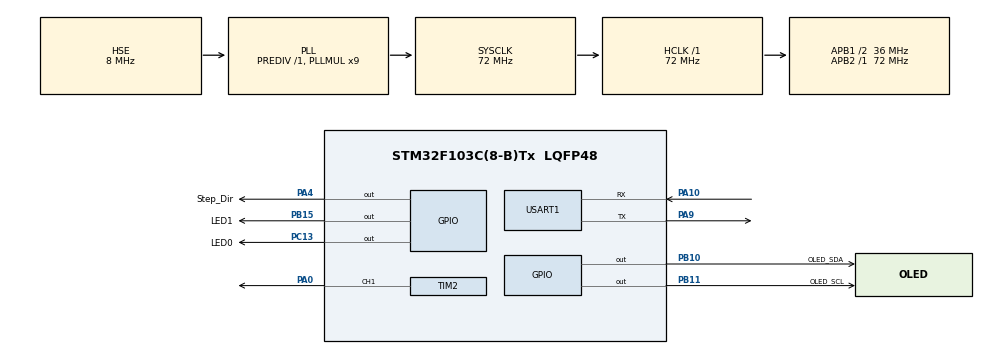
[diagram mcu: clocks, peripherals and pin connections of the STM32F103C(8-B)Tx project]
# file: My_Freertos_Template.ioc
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FREERTOS.Tasks01=defaultTask,0,128,StartDefaultTask,Default,NULL,Dynamic,NULL,NULL;myTask02,-3,128,StartTask02,Default,NULL,Dynamic,NULL,NULL
Mcu.Family=STM32F1
Mcu.Name=STM32F103C(8-B)Tx
Mcu.Package=LQFP48
NVIC.PriorityGroup=NVIC_PRIORITYGROUP_4
NVIC.TIM1_UP_IRQn=true\:15\:0\:false\:false\:true\:false\:false\:true\:true
NVIC.TIM2_IRQn=true\:5\:0\:false\:false\:true\:true\:true\:true\:true
NVIC.TimeBase=TIM1_UP_IRQn
NVIC.TimeBaseIP=TIM1
PA0-WKUP.Signal=S_TIM2_CH1_ETR
PA10.Mode=Asynchronous
PA10.Signal=USART1_RX
PA13.Mode=Serial_Wire
PA13.Signal=SYS_JTMS-SWDIO
PA14.Mode=Serial_Wire
PA14.Signal=SYS_JTCK-SWCLK
PA4.GPIO_Label=Step_Dir
PA4.Signal=GPIO_Output
PA9.Mode=Asynchronous
PA9.Signal=USART1_TX
PB10.GPIO_Label=OLED_SDA
PB10.GPIO_ModeDefaultOutputPP=GPIO_MODE_OUTPUT_OD
PB10.GPIO_PuPd=GPIO_PULLUP
PB10.GPIO_Speed=GPIO_SPEED_FREQ_HIGH
PB10.PinState=GPIO_PIN_SET
PB10.Signal=GPIO_Output
PB11.GPIO_Label=OLED_SCL
PB11.GPIO_Speed=GPIO_SPEED_FREQ_HIGH
PB11.PinState=GPIO_PIN_SET
PB11.Signal=GPIO_Output
PB15.GPIO_Label=LED1
PB15.Signal=GPIO_Output
PC13-TAMPER-RTC.GPIO_Label=LED0
PC13-TAMPER-RTC.Signal=GPIO_Output
PD0-OSC_IN.Mode=HSE-External-Oscillator
PD0-OSC_IN.Signal=RCC_OSC_IN
PD1-OSC_OUT.Mode=HSE-External-Oscillator
PD1-OSC_OUT.Signal=RCC_OSC_OUT
ProjectManager.HeapSize=0x200
ProjectManager.StackSize=0x400
ProjectManager.TargetToolchain=SW4STM32
RCC.AHBFreq_Value=72000000
RCC.APB1CLKDivider=RCC_HCLK_DIV2
RCC.APB1Freq_Value=36000000
RCC.APB1TimFreq_Value=72000000
RCC.APB2Freq_Value=72000000
RCC.APB2TimFreq_Value=72000000
RCC.HCLKFreq_Value=72000000
RCC.PLLMUL=RCC_PLL_MUL9
RCC.PLLSourceVirtual=RCC_PLLSOURCE_HSE
RCC.SYSCLKFreq_VALUE=72000000
RCC.SYSCLKSource=RCC_SYSCLKSOURCE_PLLCLK
RCC.USBFreq_Value=72000000
SH.S_TIM2_CH1_ETR.0=TIM2_CH1,PWM Generation1 CH1
TIM2.Channel-PWM\ Generation1\ CH1=TIM_CHANNEL_1
TIM2.Period=100 - 1 
TIM2.Prescaler=720 - 1
TIM2.Pulse-PWM\ Generation1\ CH1=50
USART1.VirtualMode=VM_ASYNC
VP_FREERTOS_VS_CMSIS_V1.Mode=CMSIS_V1
VP_SYS_VS_tim1.Mode=TIM1
VP_TIM2_VS_ClockSourceINT.Mode=Internal
board=custom

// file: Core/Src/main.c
/* USER CODE BEGIN Header */
/**
  ******************************************************************************
  * @file           : main.c
  * @brief          : Main program body
  ******************************************************************************
  * @attention
  *
  * Copyright (c) 2023 STMicroelectronics.
  * All rights reserved.
  *
  * This software is licensed under terms that can be found in the LICENSE file
  * in the root directory of this software component.
  * If no LICENSE file comes with this software, it is provided AS-IS.
  *
  ******************************************************************************
  */
/* USER CODE END Header */
#include "main.h"
#include "cmsis_os.h"
#include "tim.h"
#include "usart.h"
#include "gpio.h"

/* USER CODE BEGIN Includes */
#include "OLED.h"
#include "stdio.h"
/* USER CODE END Includes */

void SystemClock_Config(void);
void MX_FREERTOS_Init(void);

/* USER CODE BEGIN 0 */
uint16_t im = 0;

/* USER CODE END 0 */

int main(void)
{

  /* MCU Configuration--------------------------------------------------------*/

  /* Reset of all peripherals, Initializes the Flash interface and the Systick. */
  HAL_Init();

  /* Configure the system clock */
  SystemClock_Config();

  /* Initialize all configured peripherals */
  MX_GPIO_Init();
  MX_USART1_UART_Init();
  MX_TIM2_Init();

  /* Call init function for freertos objects (in freertos.c) */
  MX_FREERTOS_Init();

  /* Start scheduler */
  osKernelStart();

  /* We should never get here as control is now taken by the scheduler */
  /* Infinite loop */
  while (1)
  {

  }
}

void SystemClock_Config(void)
{
  RCC_OscInitTypeDef RCC_OscInitStruct = {0};
  RCC_ClkInitTypeDef RCC_ClkInitStruct = {0};

  /** Initializes the RCC Oscillators according to the specified parameters
  * in the RCC_OscInitTypeDef structure.
  */
  RCC_OscInitStruct.OscillatorType = RCC_OSCILLATORTYPE_HSE;
  RCC_OscInitStruct.HSEState = RCC_HSE_ON;
  RCC_OscInitStruct.HSEPredivValue = RCC_HSE_PREDIV_DIV1;
  RCC_OscInitStruct.HSIState = RCC_HSI_ON;
  RCC_OscInitStruct.PLL.PLLState = RCC_PLL_ON;
  RCC_OscInitStruct.PLL.PLLSource = RCC_PLLSOURCE_HSE;
  RCC_OscInitStruct.PLL.PLLMUL = RCC_PLL_MUL9;
  if (HAL_RCC_OscConfig(&RCC_OscInitStruct) != HAL_OK)
  {
    Error_Handler();
  }

  /** Initializes the CPU, AHB and APB buses clocks
  */
  RCC_ClkInitStruct.ClockType = RCC_CLOCKTYPE_HCLK|RCC_CLOCKTYPE_SYSCLK
                              |RCC_CLOCKTYPE_PCLK1|RCC_CLOCKTYPE_PCLK2;
  RCC_ClkInitStruct.SYSCLKSource = RCC_SYSCLKSOURCE_PLLCLK;
  RCC_ClkInitStruct.AHBCLKDivider = RCC_SYSCLK_DIV1;
  RCC_ClkInitStruct.APB1CLKDivider = RCC_HCLK_DIV2;
  RCC_ClkInitStruct.APB2CLKDivider = RCC_HCLK_DIV1;

  if (HAL_RCC_ClockConfig(&RCC_ClkInitStruct, FLASH_LATENCY_2) != HAL_OK)
  {
    Error_Handler();
  }
}

void HAL_TIM_PeriodElapsedCallback(TIM_HandleTypeDef *htim)
{
  if (htim->Instance == TIM1) {
    HAL_IncTick();
  }
  /* USER CODE BEGIN Callback 1 */
   if(htim->Instance == TIM2)
    {
        im++;
        if(im>=1000)
        {
            im = 0;
            HAL_GPIO_TogglePin(LED1_GPIO_Port,LED1_Pin);
        }
    }
  /* USER CODE END Callback 1 */
}

void Error_Handler(void)
{
  __disable_irq();
  while (1)
  {
  }
}

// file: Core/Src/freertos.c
/* USER CODE BEGIN Header */
/**
  ******************************************************************************
  * File Name          : freertos.c
  * Description        : Code for freertos applications
  ******************************************************************************
  * @attention
  *
  * Copyright (c) 2023 STMicroelectronics.
  * All rights reserved.
  *
  * This software is licensed under terms that can be found in the LICENSE file
  * in the root directory of this software component.
  * If no LICENSE file comes with this software, it is provided AS-IS.
  *
  ******************************************************************************
  */
/* USER CODE END Header */

#include "FreeRTOS.h"
#include "task.h"
#include "main.h"
#include "cmsis_os.h"

/* USER CODE BEGIN Includes */
#include "tim.h"
#include "retarget.h"
#include "usart.h"
#include "OLED.h"
#include "StepMotor.h"
/* USER CODE END Includes */

/* USER CODE BEGIN PM */
#define LED_W_Set      (LED1_GPIO_Port->BSRR = LED1_Pin)
#define LED_W_Reset    (LED1_GPIO_Port->BSRR = (LED1_Pin<<16))
/* USER CODE END PM */

/* USER CODE BEGIN Variables */
StepMotor SpM1;

/* USER CODE END Variables */
osThreadId defaultTaskHandle;
osThreadId myTask02Handle;

void StartDefaultTask(void const * argument);
void StartTask02(void const * argument);

void MX_FREERTOS_Init(void); /* (MISRA C 2004 rule 8.1) */

/* GetIdleTaskMemory prototype (linked to static allocation support) */
void vApplicationGetIdleTaskMemory( StaticTask_t **ppxIdleTaskTCBBuffer, StackType_t **ppxIdleTaskStackBuffer, uint32_t *pulIdleTaskStackSize );

/* USER CODE BEGIN GET_IDLE_TASK_MEMORY */
static StaticTask_t xIdleTaskTCBBuffer;
static StackType_t xIdleStack[configMINIMAL_STACK_SIZE];

void vApplicationGetIdleTaskMemory( StaticTask_t **ppxIdleTaskTCBBuffer, StackType_t **ppxIdleTaskStackBuffer, uint32_t *pulIdleTaskStackSize )
{
  *ppxIdleTaskTCBBuffer = &xIdleTaskTCBBuffer;
  *ppxIdleTaskStackBuffer = &xIdleStack[0];
  *pulIdleTaskStackSize = configMINIMAL_STACK_SIZE;
  /* place for user code */
}
/* USER CODE END GET_IDLE_TASK_MEMORY */

void MX_FREERTOS_Init(void) {
  /* USER CODE BEGIN Init */
    RetargetInit(&huart1);
    OLED_Init();
    //HAL_TIM_PWM_Start(&htim2,TIM_CHANNEL_1);
    HAL_TIM_Base_Start_IT(&htim2);
    Step_Motor_Init(&SpM1);
  /* USER CODE END Init */

  /* Create the thread(s) */
  /* definition and creation of defaultTask */
  osThreadDef(defaultTask, StartDefaultTask, osPriorityNormal, 0, 128);
  defaultTaskHandle = osThreadCreate(osThread(defaultTask), NULL);

  /* definition and creation of myTask02 */
  osThreadDef(myTask02, StartTask02, osPriorityIdle, 0, 128);
  myTask02Handle = osThreadCreate(osThread(myTask02), NULL);

}

void StartDefaultTask(void const * argument)
{
  /* USER CODE BEGIN StartDefaultTask */
  /* Infinite loop */

    uint16_t i = 0;
    OLED_Clear();
    OLED_ShowString(1,1,"I have cancel the spi!");
    OLED_ShowChar(2,1,'B');
    OLED_ShowChar(2,5,'B');
    //osDelay(1000);
    for(;;)
  {
      //printf("I have cancel the spi!\r\n");
      Step_Motor_SetSpeed(&SpM1,1);
      Step_Motor_SetDistance(&SpM1,1,1);
      OLED_ShowNum(4,10,im,4);
      osDelay(100);
      Step_Motor_SetSpeed(&SpM1,1);
      Step_Motor_SetDistance(&SpM1,0,3);
      osDelay(100);
      Step_Motor_SetSpeed(&SpM1,1);
      Step_Motor_SetDistance(&SpM1,1,3);
      osDelay(100);
      Step_Motor_SetSpeed(&SpM1,1);
      Step_Motor_SetDistance(&SpM1,0,1);
      osDelay(100);
      OLED_ShowNum(3,1,i++,4);
        osDelay(100);
    }
  /* USER CODE END StartDefaultTask */
}

void StartTask02(void const * argument)
{
  /* USER CODE BEGIN StartTask02 */
  /* Infinite loop */
  for(;;)
  {
      //printf("HELLO!\r\n");
    osDelay(10);
  }
  /* USER CODE END StartTask02 */
}
